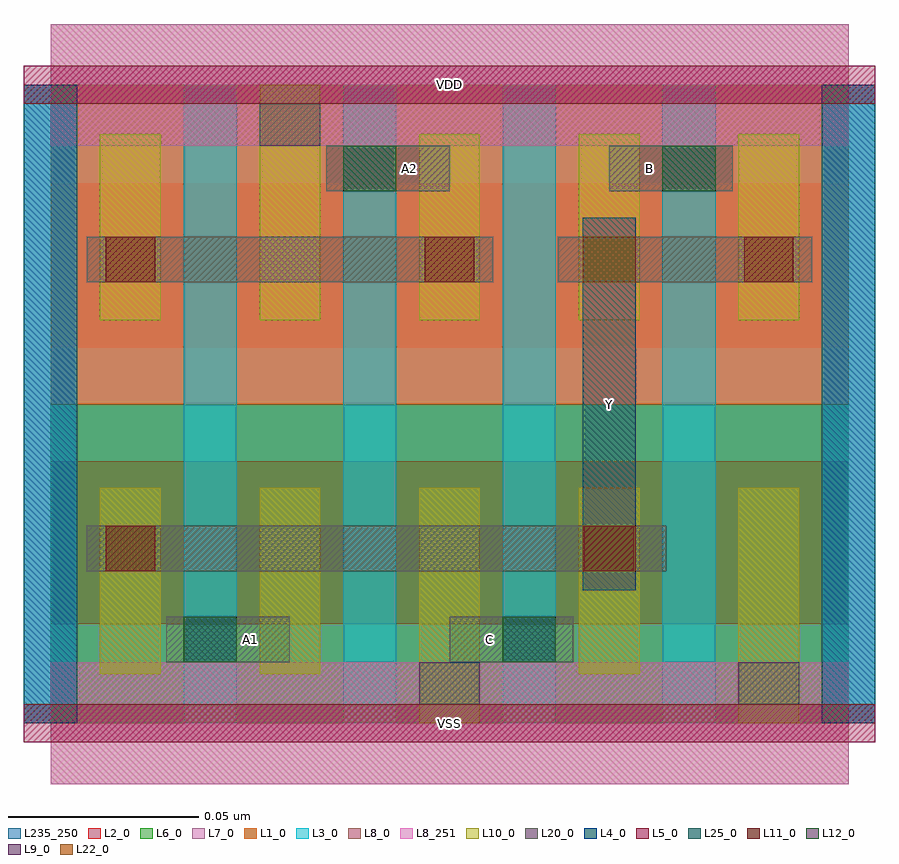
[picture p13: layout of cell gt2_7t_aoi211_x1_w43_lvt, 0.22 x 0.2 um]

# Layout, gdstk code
import gdstk
lib = gdstk.Library(unit=1e-6, precision=5e-10)
def R(c, l, rs):  # rectangles x0, y0, x1, y1
    for r in rs: c.add(gdstk.rectangle(r[:2], r[2:], *l))
def A(c, l, x, y, w, h, nx, ny, dx, dy):  # array of equal rectangles
    R(c, l, [(x+i*dx, y+j*dy, x+i*dx+w, y+j*dy+h) for i in range(nx) for j in range(ny)])
L1_0 = (1, 0)
L2_0 = (2, 0)
L3_0 = (3, 0)
L4_0 = (4, 0)
L5_0 = (5, 0)
L6_0 = (6, 0)
L7_0 = (7, 0)
L8_0 = (8, 0)
L8_251 = (8, 251)
L9_0 = (9, 0)
L10_0 = (10, 0)
L11_0 = (11, 0)
L12_0 = (12, 0)
L20_0 = (20, 0)
L22_0 = (22, 0)
L25_0 = (25, 0)
L235_250 = (235, 250)

gt2_7t_aoi211_x1_w43_lvt = lib.new_cell('gt2_7t_aoi211_x1_w43_lvt')
R(gt2_7t_aoi211_x1_w43_lvt, L1_0, [(0,0.084,0.21,0.168)])
R(gt2_7t_aoi211_x1_w43_lvt, L2_0, [(0,0.026,0.21,0.069), (0,0.099,0.21,0.142)])
A(gt2_7t_aoi211_x1_w43_lvt, L3_0, -0.007, 0, 0.014, 0.168, 6, 1, 0.042, 0)
R(gt2_7t_aoi211_x1_w43_lvt, L4_0, [(-0.007,0,0.007,0.168), (0.203,0,0.217,0.168)])
R(gt2_7t_aoi211_x1_w43_lvt, L5_0, [(-0.007,-0.005,0.217,0.005), (-0.007,0.163,0.217,0.173)])
R(gt2_7t_aoi211_x1_w43_lvt, L6_0, [(0,0,0.21,0.084)])
R(gt2_7t_aoi211_x1_w43_lvt, L7_0, [(0,0.084,0.21,0.168)])
R(gt2_7t_aoi211_x1_w43_lvt, L8_0, [(0,-0.016,0.21,0.016), (0,0.152,0.21,0.184)])
R(gt2_7t_aoi211_x1_w43_lvt, L8_251, [(0,-0.016,0.21,0.016), (0,0.152,0.21,0.184)])
R(gt2_7t_aoi211_x1_w43_lvt, L9_0, [(0.097,0.005,0.113,0.016), (0.181,0.005,0.197,0.016), (0.055,0.152,0.071,0.163)])
A(gt2_7t_aoi211_x1_w43_lvt, L10_0, 0.097, 0.106, 0.016, 0.049, 3, 1, 0.042, 0)
R(gt2_7t_aoi211_x1_w43_lvt, L10_0, [(0.097,0,0.113,0.062), (0.181,0,0.197,0.062), (0.013,0.013,0.029,0.062), (0.055,0.013,0.071,0.062), (0.139,0.013,0.155,0.062), (0.013,0.106,0.029,0.155), (0.055,0.106,0.071,0.168)])
A(gt2_7t_aoi211_x1_w43_lvt, L11_0, 0.0145, 0.116, 0.013, 0.012, 3, 1, 0.084, 0)
R(gt2_7t_aoi211_x1_w43_lvt, L11_0, [(0.0145,0.04,0.0275,0.052), (0.1405,0.04,0.1535,0.052)])
R(gt2_7t_aoi211_x1_w43_lvt, L12_0, [(0.035,0.016,0.049,0.028), (0.119,0.016,0.133,0.028), (0.077,0.14,0.091,0.152), (0.161,0.14,0.175,0.152)])
R(gt2_7t_aoi211_x1_w43_lvt, L20_0, [(0.0305,0.016,0.063,0.028), (0.105,0.016,0.1375,0.028), (0.0095,0.04,0.162,0.052), (0.0095,0.116,0.1165,0.128), (0.1335,0.116,0.2005,0.128), (0.0725,0.14,0.105,0.152), (0.147,0.14,0.1795,0.152)])
R(gt2_7t_aoi211_x1_w43_lvt, L22_0, [(0.14,0.04,0.154,0.052), (0.14,0.116,0.154,0.128)])
R(gt2_7t_aoi211_x1_w43_lvt, L25_0, [(0.14,0.035,0.154,0.133)])
R(gt2_7t_aoi211_x1_w43_lvt, L235_250, [(0,0,0.21,0.168)])
gt2_7t_aoi211_x1_w43_lvt.add(gdstk.Label('VSS', (0.105,0), layer=8, texttype=251))
gt2_7t_aoi211_x1_w43_lvt.add(gdstk.Label('VDD', (0.105,0.168), layer=8, texttype=251))
gt2_7t_aoi211_x1_w43_lvt.add(gdstk.Label('B', (0.1575,0.146), layer=20, texttype=251))
gt2_7t_aoi211_x1_w43_lvt.add(gdstk.Label('A2', (0.0945,0.146), layer=20, texttype=251))
gt2_7t_aoi211_x1_w43_lvt.add(gdstk.Label('C', (0.1155,0.022), layer=20, texttype=251))
gt2_7t_aoi211_x1_w43_lvt.add(gdstk.Label('A1', (0.0525,0.022), layer=20, texttype=251))
gt2_7t_aoi211_x1_w43_lvt.add(gdstk.Label('Y', (0.147,0.084), layer=25, texttype=251))

lib.write_gds('gt2_7t_aoi211_x1_w43_lvt.gds')
